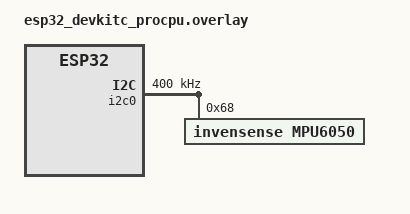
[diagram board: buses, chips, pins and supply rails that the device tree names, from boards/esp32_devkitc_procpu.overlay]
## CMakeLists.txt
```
cmake_minimum_required(VERSION 3.20.0)
find_package(Zephyr REQUIRED HINTS $ENV{ZEPHYR_BASE})
project(esp32_mpu6050)

target_sources(app PRIVATE src/main.cpp)
```

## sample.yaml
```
sample:
  name: MPU-6050 gyro on ESP32
common:
  tags: fc
tests:
  fc.samples.esp32_mpu6050:
    build_only: true
    platform_allow:
      - esp32_devkitc/esp32/procpu
```

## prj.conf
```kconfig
CONFIG_CPP=y
CONFIG_STD_CPP23=y

CONFIG_I2C=y
CONFIG_SENSOR=y
CONFIG_PRINTK=y
```

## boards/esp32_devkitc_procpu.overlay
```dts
/* MPU-6050 breakout on the DevKitC's default I2C pins: SDA GPIO21,
 * SCL GPIO22, 3V3 and GND. AD0 low gives address 0x68.
 */
&i2c0 {
	clock-frequency = <I2C_BITRATE_FAST>;

	mpu6050: mpu6050@68 {
		compatible = "invensense,mpu6050";
		reg = <0x68>;
		status = "okay";
	};
};
```

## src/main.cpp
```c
// Reads the MPU-6050 gyro through Zephyr's sensor API and prints body rates
// at 10 Hz. The first piece of real hardware the controller will need: on
// the bench it replaces the gyro the simulator puts in the sensor frame.

#include <zephyr/device.h>
#include <zephyr/drivers/sensor.h>
#include <zephyr/kernel.h>
#include <zephyr/sys/printk.h>

namespace {
const device *const kImu = DEVICE_DT_GET(DT_NODELABEL(mpu6050));

// printk has no %f on every target, so rates go out as mrad/s.
int milli(const sensor_value &v) {
	return static_cast<int>(sensor_value_to_milli(&v));
}
} // namespace

int main() {
	if (!device_is_ready(kImu)) {
		printk("mpu6050 not ready, check wiring and the 0x68 address\n");
		return 0;
	}
	printk("mpu6050 ready, gyro in mrad/s (sensor axes, not yet mapped to the body frame)\n");

	for (;;) {
		sensor_value gyro[3];
		if (sensor_sample_fetch(kImu) == 0 && sensor_channel_get(kImu, SENSOR_CHAN_GYRO_XYZ, gyro) == 0) {
			printk("gyro x %6d y %6d z %6d\n", milli(gyro[0]), milli(gyro[1]), milli(gyro[2]));
		} else {
			printk("read failed\n");
		}
		k_msleep(100);
	}
}
```
